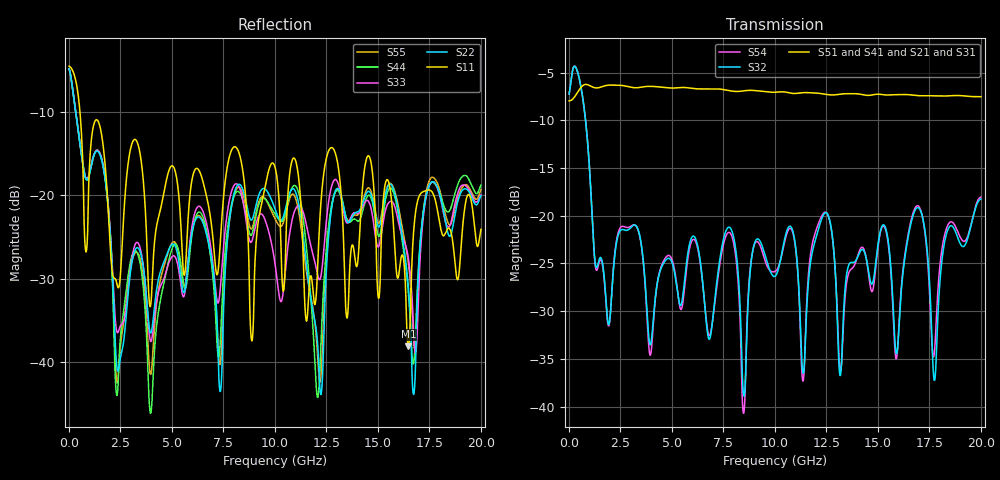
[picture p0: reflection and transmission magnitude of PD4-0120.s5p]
! MARKI MICROWAVE INC.
! Email:  info@markimicrowave.com  Phone:  408-778-4200
! Model Number:  PD4-0120  Date:  11/12
! Filename:		PD4_0120.S5P  Version: 1.0
! Description:  5-port S-parameter data for 4 Way Power Divider PD4-0120
! Frequency Range: 	10 MHz to 20 GHz
! Port Configuration:	PORT 1: COMMON
!  PORT 2: Output 1
!  Port 3: Output 2
!  Port 4: Output 3
!  Port 5: Output 4
! S5P File: Measurements: Mag<S11> Ang<S11> Mag<S12> Ang<S12> Mag<S13> Ang<S13> Mag<S14> Ang<S14> ! row 1
!  Mag<S15> Ang<S15>
!  Mag<S21> Ang<S21> Mag<S22> Ang<S22> Mag<S23> Ang<S23> Mag<S24> Ang<S24> ! row 2
!  Mag<S25> Ang<S25>
!  Mag<S31> Ang<S31> Mag<S32> Ang<S32> Mag<S33> Ang<S33> Mag<S34> Ang<S34> ! row 3
!  Mag<S35> Ang<S35>
!  Mag<S41> Ang<S41> Mag<S42> Ang<S42> Mag<S43> Ang<S43> Mag<S44> Ang<S44> ! row 4
!  Mag<S45> Ang<S45>
!  Mag<S51> Ang<S51> Mag<S52> Ang<S52> Mag<S53> Ang<S53> Mag<S54> Ang<S54> ! row 5
!  Mag<S55> Ang<S55>
# GHz S DB R 50
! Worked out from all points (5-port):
!   801 points, 10 MHz to 20 GHz, reference 50 ohm
!   strongest paths, dB at 10 MHz, 5.01 GHz, 10.01 GHz, 15.01 GHz, 20 GHz:
!     S51: -8.0, -6.6, -7.1, -7.3, -7.5
!     S41: -8.0, -6.6, -7.1, -7.3, -7.6
!     S21: -8.0, -6.6, -7.1, -7.4, -7.7
!     S31: -8.0, -6.7, -7.2, -7.6, -7.8
!     S32: -7.3, -24.9, -26.3, -22.9, -18.2
!     S54: -7.2, -24.6, -25.8, -23.2, -18.0
!   lowest |S11| = -38.1 dB at 16.48 GHz (marker M1), VSWR 1.03, Z = 50.1 + j1.24 ohm
!   |S11| at or under -10 dB: 534.6 MHz to end of sweep
